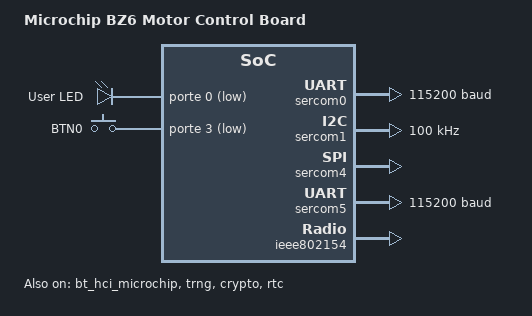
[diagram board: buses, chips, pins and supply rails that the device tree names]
/*
 * Copyright (c) 2025 Microchip Technology Inc.
 *
 * SPDX-License-Identifier: Apache-2.0
 */

/dts-v1/;
#include <microchip/pic32c/pic32cx_bz/bz6x/bz62/pic32cx2051bz62132.dtsi>
#include "bz6_motor_control_board-pinctrl.dtsi"
#include <zephyr/dt-bindings/input/input-event-codes.h>
#include <zephyr/dt-bindings/i2c/i2c.h>

/ {
	model = "Microchip BZ6 Motor Control Board";
	compatible = "microchip,bz6-motor-control-board";

	chosen {
		zephyr,console = &sercom0;
		zephyr,shell-uart = &sercom0;
		zephyr,sram = &sram0;
		zephyr,flash = &flash0;
		zephyr,code-partition = &code_partition;
		zephyr,bt-hci = &bt_hci_microchip;
		zephyr,bt-c2h-uart = &sercom0;
		zephyr,ieee802154 = &ieee802154;
		zephyr,cortex-m-idle-timer = &rtc;
		zephyr,entropy = &trng;
		zephyr,crypto = &crypto;
	};

	leds {
		compatible = "gpio-leds";
		led0: led_0 {
			/* D801 blue LED: PE0 low = ON, PE0 high = OFF */
			gpios = <&porte 0 GPIO_ACTIVE_LOW>;
			label = "User LED";
		};
	};

	buttons {
		compatible = "gpio-keys";
		button0: button_0 {
			gpios = <&porte 3 (GPIO_PULL_UP | GPIO_ACTIVE_LOW)>;
			label = "BTN0";
			zephyr,code = <INPUT_KEY_0>;
		};
	};

	aliases {
		led0 = &led0;
		sw0 = &button0;
		rtc = &rtc;
		watchdog0 = &wdog;
	};
};

&cpu0 {
	clock-frequency = <128000000>;
};

&sosc {
	sosc-en = <0>;
};

&vbkpclk {
	vbkpclk-32kc-src-sel = "lprc";
};

&lpclk {
	lpclk-div-modifier = "div_by_1.024";
};

&rtcclk {
	rtcclk-vbkp-div-sel = "div_by_32";
};

&sercom0 {
	status = "okay";
	compatible = "microchip,sercom-g1-uart";
	rxpo = <1>;
	txpo = <0>;
	current-speed = <115200>;
	pinctrl-0 = <&sercom0_uart_default>;
	pinctrl-names = "default";

	dmas = <&dmac 0 4>, <&dmac 1 5>;
	dma-names = "rx", "tx";
};

&sercom1 {
	status = "okay";
	compatible = "microchip,sercom-g1-i2c";
	clock-frequency = <I2C_BITRATE_STANDARD>;
	#address-cells = <1>;
	#size-cells = <0>;
	pinctrl-0 = <&sercom1_i2c_default>;
	pinctrl-names = "default";

	dmas = <&dmac 2 6>, <&dmac 3 7>;
	dma-names = "rx", "tx";
};

&sercom4 {
	status = "okay";
	compatible = "microchip,sercom-g1-spi";
	dipo = <0>;
	dopo = <2>;
	#address-cells = <1>;
	#size-cells = <0>;

	pinctrl-0 = <&sercom4_spi_master_socket1>;
	pinctrl-names = "default";

	dmas = <&dmac 4 12>, <&dmac 5 13>;
	dma-names = "rx", "tx";
};

&sercom5 {
	status = "okay";
	compatible = "microchip,sercom-g1-uart";
	rxpo = <3>;
	txpo = <0>;
	current-speed = <115200>;
	pinctrl-0 = <&sercom5_uart_default>;
	pinctrl-names = "default";

	dmas = <&dmac 6 14>, <&dmac 7 15>;
	dma-names = "rx", "tx";
};

&bt_hci_microchip {
	status = "okay";
};

&ieee802154 {
	status = "okay";
};

&trng {
	status = "okay";
};

&crypto {
	status = "okay";
};

&flash0 {
	partitions {
		compatible = "fixed-partitions";
		#address-cells = <1>;
		#size-cells = <1>;

		code_partition: partition@0 {
			label = "code";
			reg = <0x0 DT_SIZE_K(2048-16)>;
			read-only;
		};

		storage_partition: partition@1FC000 {
			label = "storage";
			reg = <0x1FC000 0x00004000>;
		};
	};
};

&porta {
	status = "okay";
};

&portb {
	status = "okay";
};

&rtc {
	compatible = "microchip,rtc-g1-counter";
	status = "okay";
	max-bit-width = <32>;
	prescaler = <1>;
};

&tcc0 {
	status = "disabled";
	compatible = "microchip,tcc-g1-pwm";
	#pwm-cells = <3>;
	pinctrl-0 = <&tcc0_pwm_default>;
	pinctrl-names = "default";
	max-bit-width = <24>;
	prescaler = <1>;
	channels = <6>;
};

&tcc1 {
	status = "disabled";
	compatible = "microchip,tcc-g1-pwm";
	#pwm-cells = <3>;
	pinctrl-0 = <&tcc1_pwm_default>;
	pinctrl-names = "default";
	max-bit-width = <24>;
	prescaler = <1>;
	channels = <6>;
};

&tcc2 {
	status = "disabled";
	compatible = "microchip,tcc-g1-pwm";
	#pwm-cells = <3>;
	pinctrl-0 = <&tcc2_pwm_default>;
	pinctrl-names = "default";
	max-bit-width = <24>;
	prescaler = <1>;
	channels = <6>;
};

&tc0 {
	status = "disabled";
	compatible = "microchip,tc-g1";
	#pwm-cells = <3>;
	pinctrl-0 = <&tc0_pwm_default>;
	pinctrl-names = "default";
	max-bit-width = <32>;
	prescaler = <1>;
};

&tc1 {
	status = "disabled";
	compatible = "microchip,tc-g1";
	#pwm-cells = <3>;
	pinctrl-0 = <&tc1_pwm_default>;
	pinctrl-names = "default";
	max-bit-width = <32>;
	prescaler = <1>;
};
